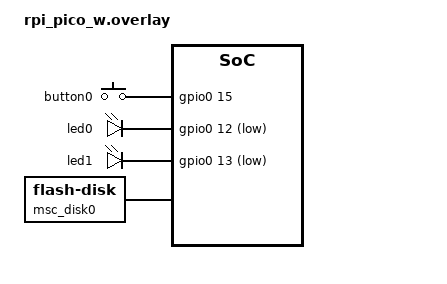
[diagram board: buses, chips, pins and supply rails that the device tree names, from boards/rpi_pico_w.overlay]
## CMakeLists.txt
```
# SPDX-License-Identifier: Apache-2.0

cmake_minimum_required(VERSION 3.20.0)
find_package(Zephyr REQUIRED HINTS $ENV{ZEPHYR_BASE})
project(bootsel)

include(${ZEPHYR_BASE}/samples/subsys/usb/common/common.cmake)
FILE(GLOB app_sources src/*.c)
target_sources(app PRIVATE ${app_sources})
```

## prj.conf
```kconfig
CONFIG_USB_DEVICE_STACK=y
# XXX(pkoscik): To be finished
CONFIG_USB_DEVICE_VID=0x0000
CONFIG_USB_DEVICE_PID=0x0000
CONFIG_USB_DEVICE_PRODUCT="Zephyr GRUB Bootselect"

CONFIG_USB_MASS_STORAGE=y
CONFIG_MASS_STORAGE_DISK_NAME="NAND"
CONFIG_DISK_DRIVER_FLASH=y
CONFIG_FILE_SYSTEM=y
CONFIG_FAT_FILESYSTEM_ELM=y

CONFIG_LOG=y
CONFIG_USB_DRIVER_LOG_LEVEL_INF=y
CONFIG_USB_DEVICE_LOG_LEVEL_INF=y
CONFIG_USB_MASS_STORAGE_LOG_LEVEL_INF=y
```

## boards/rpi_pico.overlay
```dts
rpi_pico_w.overlay
```

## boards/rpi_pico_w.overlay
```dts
/ {
	aliases {
		sw0 = &button0;
		led0 = &led0;
		led1 = &led1;
	};

	buttons {
		compatible = "gpio-keys";
	    button0: button0 {
	        gpios = <&gpio0 15 GPIO_PULL_UP>;
	    };
	};

	leds {
		compatible = "gpio-leds";
		led0: led_0 {
			gpios = <&gpio0 12 GPIO_ACTIVE_LOW>;
		};
		led1: led_1 {
			gpios = <&gpio0 13 GPIO_ACTIVE_LOW>;
		};
	};

	msc_disk0 {
		compatible = "zephyr,flash-disk";
		partition = <&storage_partition>;
		disk-name = "NAND";
		cache-size = <4096>;
	};
};

/delete-node/ &code_partition;

&flash0 {
	partitions {
		compatible = "fixed-partitions";
		#address-cells = <1>;
		#size-cells = <1>;

		code_partition: partition@100 {
			label = "code";
			reg = <0x100 (DT_SIZE_M(1) - 0x100)>;
			read-only;
		};

		storage_partition: partition@100000 {
			label = "storage";
			reg = <0x100000  DT_SIZE_M(1)>;
		};
	};
};
```

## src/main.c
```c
#include <zephyr/kernel.h>
#include <zephyr/logging/log.h>
#include <zephyr/drivers/gpio.h>
#include <zephyr/usb/usb_device.h>
#include <zephyr/usb/class/usbd_msc.h>
#include <zephyr/storage/flash_map.h>
#include <zephyr/fs/fs.h>
#include <ff.h>

LOG_MODULE_REGISTER(bootsel);

#define SW0_NODE DT_ALIAS(sw0)
static const struct gpio_dt_spec button = GPIO_DT_SPEC_GET_OR(SW0_NODE, gpios, {0});
static struct gpio_callback button_cb_data;

#define LED0_NODE DT_ALIAS(led0)
#define LED1_NODE DT_ALIAS(led1)
static const struct gpio_dt_spec led0 = GPIO_DT_SPEC_GET(LED0_NODE, gpios);
static const struct gpio_dt_spec led1 = GPIO_DT_SPEC_GET(LED1_NODE, gpios);

#define MOUNTPOINT   "/NAND:"
#define FILENAME     "BOOTSEL"
#define FILELOCATION MOUNTPOINT "/" FILENAME

#define STORAGE_PARTITION    storage_partition
#define STORAGE_PARTITION_ID FIXED_PARTITION_ID(STORAGE_PARTITION)

static bool toggle_state = false;

static int setup_disk(void)
{
	static struct fs_mount_t mp;
	static FATFS fat_fs;
	const struct flash_area *pfa;
	int ret;

	mp.storage_dev = (void *)STORAGE_PARTITION_ID;
	ret = flash_area_open(STORAGE_PARTITION_ID, &pfa);
	if (ret != 0) {
		flash_area_close(pfa);
		LOG_ERR("Error %d: failed to setup flash area", ret);
		return ret;
	}

	LOG_INF("Area %u at 0x%x on %s for %u bytes", STORAGE_PARTITION_ID,
		(unsigned int)pfa->fa_off, pfa->fa_dev->name, (unsigned int)pfa->fa_size);

	mp.type = FS_FATFS;
	mp.fs_data = &fat_fs;
	mp.mnt_point = MOUNTPOINT;
	ret = fs_mount(&mp);
	if (ret != 0) {
		LOG_ERR("Error %d: failed to mount filesystem", ret);
		return ret;
	}

	return 0;
}

static int read_state_from_file(void)
{
	struct fs_file_t file;
	char buffer[2] = {0};
	int ret;

	fs_file_t_init(&file);
	ret = fs_open(&file, FILELOCATION, FS_O_READ);
	if (ret == -ENOENT) {
		LOG_INF("Error %d: file '%s' not found", ret, FILELOCATION);
		return ret;
	}

	ret = fs_read(&file, buffer, sizeof(buffer) - 1);
	if (ret < 0) {
		LOG_ERR("Error %d: failed to read from file", ret);
		fs_close(&file);
		return ret;
	}

	toggle_state = (buffer[0] == '1') ? true : false;
	fs_close(&file);
	return 0;
}

static void write_state_to_file(void)
{
	struct fs_file_t file;
	char data = toggle_state ? '1' : '0';
	int ret;

	fs_file_t_init(&file);
	ret = fs_open(&file, FILELOCATION, FS_O_CREATE | FS_O_WRITE);
	if (ret != 0) {
		LOG_ERR("Error %d: failed to open file for writing", ret);
		return;
	}

	ret = fs_write(&file, &data, 1);
	if (ret < 0) {
		LOG_ERR("Error %d: failed to write to file", ret);
	}

	LOG_INF("Wrote '%c' to file '%s'", data, FILELOCATION);
	fs_close(&file);
}

static void update_led()
{
	int led0_state = toggle_state ? 1 : 0;
	gpio_pin_set_dt(&led0, led0_state);
	gpio_pin_set_dt(&led1, !led0_state);
}

static void button_pressed(const struct device *dev, struct gpio_callback *cb, uint32_t pins)
{
	static int64_t last_press = 0;
	int64_t now = k_uptime_get();

	if (now - last_press < 500) {
		return;
	}

	last_press = now;
	toggle_state = !toggle_state;

	write_state_to_file();
	update_led();
}

static int configure_led(struct gpio_dt_spec led)
{
	int ret;

	if (!gpio_is_ready_dt(&led)) {
		LOG_ERR("Error: LED GPIO not ready");
		return -ENODEV;
	}

	ret = gpio_pin_configure_dt(&led, GPIO_OUTPUT);
	if (ret < 0) {
		LOG_ERR("Error %d: failed to configure LED GPIO output", ret);
		return ret;
	}

	LOG_INF("Set up LED at %s pin %d", led.port->name, led.pin);
	return 0;
}

static int configure_button(struct gpio_dt_spec button)
{
	int ret;

	if (!gpio_is_ready_dt(&button)) {
		LOG_ERR("Error: failed to configure button (%s) GPIO", button.port->name);
		return -ENODEV;
	}

	ret = gpio_pin_configure_dt(&button, GPIO_INPUT);
	if (ret != 0) {
		LOG_ERR("Error %d: failed to configure %s pin %d", ret, button.port->name,
			button.pin);
		return ret;
	}

	ret = gpio_pin_interrupt_configure_dt(&button, GPIO_INT_EDGE_TO_ACTIVE);
	if (ret != 0) {
		LOG_ERR("Error %d: failed to configure interrupt on %s pin %d", ret,
			button.port->name, button.pin);
		return ret;
	}

	gpio_init_callback(&button_cb_data, button_pressed, BIT(button.pin));
	ret = gpio_add_callback(button.port, &button_cb_data);
	if (ret != 0) {
		LOG_ERR("Error %d: failed to register button GPIO callback", ret);
		return ret;
	}

	LOG_INF("Set up button at %s pin %d", button.port->name, button.pin);
	return 0;
}

static int configure_gpio(void)
{
	int ret;

	ret = configure_button(button);
	if (ret != 0) {
		LOG_ERR("Failed to configure button: %d", ret);
		return ret;
	}

	ret = configure_led(led0);
	if (ret < 0) {
		LOG_ERR("Failed to configure LED 0: %d", ret);
		return ret;
	}

	ret = configure_led(led1);
	if (ret < 0) {
		LOG_ERR("Failed to configure LED 1: %d", ret);
		return ret;
	}

	LOG_INF("GPIO configured successfully");
	return 0;
}

int main(void)
{
	int ret;

	ret = setup_disk();
	if (ret < 0) {
		LOG_ERR("Failed to initialize NAND: %d", ret);
		return ret;
	}

	ret = configure_gpio();
	if (ret < 0) {
		LOG_ERR("Failed to initialize GPIO: %d", ret);
		return ret;
	}

	ret = read_state_from_file();
	if (ret == -ENOENT) {
		toggle_state = false;
		LOG_WRN("Failed to read " FILENAME "! Assuming toggle_state: false");
	}

	LOG_INF("Boot toggle state: %d", toggle_state);
	update_led();

	ret = usb_enable(NULL);
	if (ret != 0) {
		LOG_ERR("Failed to enable USB");
		return ret;
	}

	LOG_INF("The device is put in USB mass storage mode.");
	return 0;
}
```
